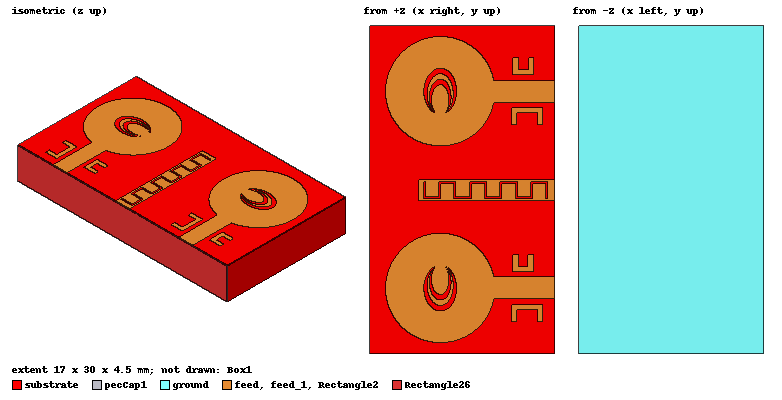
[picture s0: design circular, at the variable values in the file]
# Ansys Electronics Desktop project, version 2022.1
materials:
  vacuum: permittivity=1
  FR4_epoxy: permittivity=4.4 dielectric_loss_tangent=0.02
  Rogers RT/duroid 5880 (tm): permittivity=2.2 dielectric_loss_tangent=0.0009
  FR-4
  pec: conductivity=1e+30

design circular (HFSS, DrivenModal, model units mm)
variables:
  taban_en = 30mm
  taban_boy = 17mm
  h = 4.5mm
  rad = 5mm
  feed_en = 2mm
  feed_boy = 12.5mm
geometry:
  ground = rectangle(corner=(-taban_boy/2, -taban_en/2, 0mm), x_size=taban_boy, y_size=taban_en)
  substrate [Rogers RT/duroid 5880 (tm)] = box(corner=(-taban_boy /2, -taban_en/2, 0mm), size=(taban_boy, taban_en, h))
  patch = circle(normal=Z, centre=(0mm, 0mm, h), radius=rad)
  Rectangle1 = rectangle(corner=(3mm, -4mm, 1.8mm), x_size=2mm, y_size=8mm)
  patch.subtract(Rectangle1)
  patch.rotate(axis=Z, angle=180deg)
  Ellipse1 = ellipse(normal=Z, centre=(0, 0, h), major_radius=1.5mm, ratio=1.4)
  Ellipse2 = ellipse(normal=Z, centre=(0mm, 0.252mm, h), major_radius=1.2mm, ratio=1.54)
  Ellipse1_1 = Ellipse1.copy()
  Ellipse1.delete()
  patch.subtract(Ellipse1_1)
  patch.unite(Ellipse2)
  Ellipse3 = ellipse(normal=Z, centre=(0mm, 0.5mm, h), major_radius=1mm, ratio=1.6)
  Ellipse3_1 = Ellipse3.copy()
  Ellipse3.delete()
  patch.subtract(Ellipse3_1)
  Ellipse4 = ellipse(normal=Z, centre=(0mm, 0.8mm, h), major_radius=0.8mm, ratio=1.75)
  patch.unite(Ellipse4)
  patch.move(0mm, -8mm, 0mm)
  patch.move(0mm, -1mm, 0mm)
  Rectangle2 = rectangle(corner=(-6.25mm, -1mm, h), x_size=12.5mm, y_size=2mm)
  Rectangle2.move(-6mm, -36mm, 0mm)
  Rectangle3 = rectangle(corner=(-0.6mm, -36.8mm, h), x_size=0.2mm, y_size=1.6mm)
  Rectangle4 = rectangle(corner=(-0.6mm, -35.4mm, h), x_size=-1.4mm, y_size=0.2mm)
  Rectangle5 = rectangle(corner=(-2mm, -35.4mm, h), x_size=0.2mm, y_size=-1.4mm)
  Rectangle6 = rectangle(corner=(-2mm, -36.8mm, h), x_size=-1.4mm, y_size=0.2mm)
  Rectangle7 = rectangle(corner=(-3.4mm, -36.6mm, h), x_size=0.2mm, y_size=1.4mm)
  Rectangle8 = rectangle(corner=(-3.4mm, -35.4mm, h), x_size=-1.4mm, y_size=0.2mm)
  Rectangle9 = rectangle(corner=(-4.8mm, -35.4mm, h), x_size=0.2mm, y_size=-1.4mm)
  Rectangle10 = rectangle(corner=(-4.8mm, -36.8mm, h), x_size=-1.4mm, y_size=0.2mm)
  Rectangle11 = rectangle(corner=(-6.2mm, -36.6mm, h), x_size=0.2mm, y_size=1.4mm)
  Rectangle12 = rectangle(corner=(-6.2mm, -35.4mm, h), x_size=-1.4mm, y_size=0.2mm)
  Rectangle13 = rectangle(corner=(-7.6mm, -35.4mm, h), x_size=0.2mm, y_size=-1.4mm)
  Rectangle14 = rectangle(corner=(-7.6mm, -36.8mm, h), x_size=-1.4mm, y_size=0.2mm)
  Rectangle15 = rectangle(corner=(-9mm, -36.6mm, h), x_size=0.2mm, y_size=1.4mm)
  Rectangle16 = rectangle(corner=(-9mm, -35.4mm, h), x_size=-1.4mm, y_size=0.2mm)
  Rectangle17 = rectangle(corner=(-10.4mm, -35.4mm, h), x_size=0.2mm, y_size=-1.4mm)
  Rectangle18 = rectangle(corner=(-10.4mm, -36.8mm, h), x_size=-1.4mm, y_size=0.2mm)
  Rectangle19 = rectangle(corner=(-11.8mm, -36.6mm, h), x_size=0.2mm, y_size=1.4mm)
  Rectangle2.subtract(Rectangle10..Rectangle19, Rectangle3..Rectangle9)
  Rectangle20 = rectangle(corner=(-4mm, -48mm, h), x_size=0.5mm, y_size=1.6mm)
  Rectangle21 = rectangle(corner=(-4mm, -48mm, h), x_size=-0.9mm, y_size=0.5mm)
  Rectangle22 = rectangle(corner=(-4.9mm, -48mm, h), x_size=-0.5mm, y_size=1.6mm)
  Rectangle20.unite(Rectangle21, Rectangle22)
  Rectangle20.move(10mm, 41mm, 0mm)
  Rectangle20.move(0.025mm, -0.5mm, 0mm)
  Rectangle20_1 = Rectangle20.duplicate_along_line(step=(0.025mm, 18mm, 0mm), total=2)
  Rectangle23 = rectangle(corner=(-2.5mm, -55mm, 0mm), x_size=0.5mm, y_size=1.6mm)
  Rectangle24 = rectangle(corner=(-2.5mm, -55mm, 0mm), x_size=-1.9mm, y_size=0.5mm)
  Rectangle25 = rectangle(corner=(-4.4mm, -55mm, 0mm), x_size=-0.5mm, y_size=1.6mm)
  Rectangle25.unite(Rectangle24, Rectangle23)
  Rectangle25.move(8.5mm, 43mm, 0mm)
  Rectangle25.rotate(axis=Z, angle=180deg)
  Rectangle25.move(13mm, -22.5mm, h)
  Rectangle25.move(-2mm, 0mm, 0mm)
  feed = rectangle(corner=(2.5mm, -10mm, h), x_size=6mm, y_size=2mm)
  patch.move(-2mm, 0mm, 0mm)
  feed.unite(patch)
  feed_1 = feed.duplicate_mirror(point=(0mm, 0mm, 0mm), normal=(0mm, 1mm, 0mm))
  Rectangle25_1 = Rectangle25.duplicate_along_line(step=(0mm, 18mm, 0mm), total=2)
  Rectangle2.move(8.25mm, 36.15mm, 0)
  Rectangle2.move(4.4408921e-16mm, -0.2mm, 0mm)
  Rectangle26 = rectangle(corner=(8.5mm, -15mm, 4.5mm), y_size=30mm, z_size=-4.5mm)
  Box1 [vacuum] = box(corner=(-25mm, -25mm, -25mm), size=(50mm, 50mm, 50mm))
  feed.unite(Rectangle25, Rectangle20)
  feed_1.unite(Rectangle25_1, Rectangle20_1)
  pecCap1 [pec] = sweep_along_normal(Rectangle26.face(at (8.5, 0, 2.25)), length=0.03mm)
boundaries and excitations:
  PerfE2: Perfect E Objects=ground
  PerfE6: Perfect E Objects=feed
  PerfE8: Perfect E Objects=feed_1
  PerfE10: Perfect E Objects=Rectangle2
  Rad1: Radiation Objects=Box1
  1: Wave Port Objects=Rectangle26 NumModes=1 Modes{Mode1{IntLine{(8.5, 0, 0) -> (8.5, 0, 4.5)} CharImp=Zpi}}
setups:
  Setup1: HfssDriven Frequency=40GHz MaxDeltaS=0.02 MaximumPasses=6 MinimumPasses=1 MinimumConvergedPasses=1 PercentRefinement=30 BasisOrder=1 PortAccuracy=2 DrivenSolverType="Direct Solver"
    sweep Sweep: 5GHz to 90GHz step 2GHz; Type=Interpolating InterpTolerance=0.5 InterpMaxSolns=250 InterpUsePortImped=false PassivityErrorTolerance=0.0001
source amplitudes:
  1:1: 1W 0deg
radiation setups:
  Infinite Sphere1: Infinite Sphere Theta=-180deg..180deg step 2deg Phi=0deg..90deg step 90deg
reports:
  S Parameter Plot 1: dB(S(1,1)) vs Freq on Setup1 : Sweep
  S Parameter Plot 2: dB(S(1,1)) vs Freq on Setup1 : Sweep
